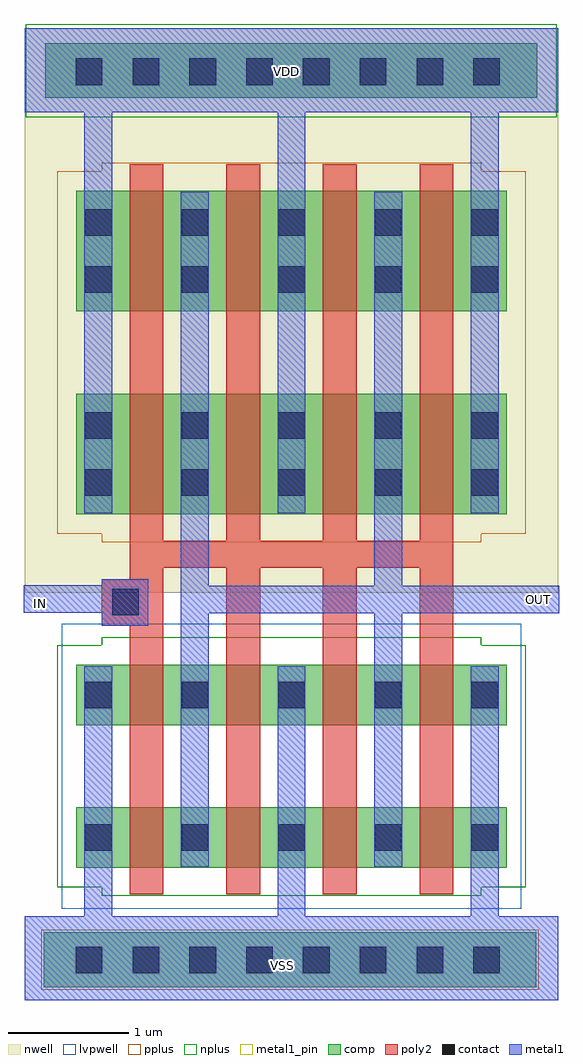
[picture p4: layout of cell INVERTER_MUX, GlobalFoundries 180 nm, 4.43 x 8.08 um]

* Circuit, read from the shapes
.subckt INVERTER_MUX IN OUT VDD VSS
XM1 OUT IN VSS VSS nfet_03v3 w=0.5u l=0.28u m=8
XM2 OUT IN VDD VDD pfet_03v3 w=1u l=0.28u m=8
.ends

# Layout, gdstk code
import gdstk
lib = gdstk.Library(unit=1e-6, precision=1e-09)
def R(c, l, rs):  # rectangles x0, y0, x1, y1
    for r in rs: c.add(gdstk.rectangle(r[:2], r[2:], *l))
def A(c, l, x, y, w, h, nx, ny, dx, dy):  # array of equal rectangles
    R(c, l, [(x+i*dx, y+j*dy, x+i*dx+w, y+j*dy+h) for i in range(nx) for j in range(ny)])
nwell = (21, 0)
comp = (22, 0)
poly2 = (30, 0)
pplus = (31, 0)
nplus = (32, 0)
contact = (33, 0)
metal1 = (34, 0)
metal1_pin = (34, 10)
lvpwell = (204, 0)

pmos_3p3_mwbyar = lib.new_cell('pmos_3p3_MWBYAR')
R(pmos_3p3_mwbyar, nwell, [(-2.21,-1.99,2.21,1.99)])
R(pmos_3p3_mwbyar, comp, [(-1.78,-1.34,1.78,-0.34), (-1.78,0.34,1.78,1.34)])
A(pmos_3p3_mwbyar, poly2, -1.34, -1.56, 0.28, 1.44, 4, 2, 0.8, 1.68)
R(pmos_3p3_mwbyar, pplus, [(-1.57,-1.57,1.57,-1.5), (-1.94,-1.5,1.94,1.5), (-1.57,1.5,1.57,1.57)])
A(pmos_3p3_mwbyar, contact, -1.71, -1.185, 0.22, 0.22, 5, 2, 0.8, 0.47)
A(pmos_3p3_mwbyar, contact, -1.71, 0.495, 0.22, 0.22, 5, 2, 0.8, 0.47)
A(pmos_3p3_mwbyar, metal1, -1.715, -1.33, 0.23, 0.98, 5, 2, 0.8, 1.68)

nmos_3p3_megst2 = lib.new_cell('nmos_3p3_MEGST2')
R(nmos_3p3_megst2, comp, [(-1.78,-0.84,1.78,-0.34), (-1.78,0.34,1.78,0.84)])
A(nmos_3p3_megst2, poly2, -1.34, -1.06, 0.28, 0.94, 4, 2, 0.8, 1.18)
R(nmos_3p3_megst2, nplus, [(-1.57,-1.07,1.57,-1), (-1.94,-1,1.94,1), (-1.57,1,1.57,1.07)])
A(nmos_3p3_megst2, contact, -1.71, -0.7, 0.22, 0.22, 5, 2, 0.8, 1.18)
A(nmos_3p3_megst2, metal1, -1.715, -0.83, 0.23, 0.48, 5, 2, 0.8, 1.18)
R(nmos_3p3_megst2, lvpwell, [(-1.9,-1.18,1.9,1.18)])

inverter_mux = lib.new_cell('INVERTER_MUX')
R(inverter_mux, nwell, [(0,3.98,4.42,4.675)])
R(inverter_mux, comp, [(0.16,-3.265,4.235,-2.81), (0.17,4.1,4.245,4.55)])
A(inverter_mux, poly2, 0.87, 1.865, 0.28, 0.255, 3, 1, 0.8, 0)
R(inverter_mux, poly2, [(0.87,-1.56,1.15,-1.315), (1.67,-1.56,1.95,-1.315), (2.47,-1.56,2.75,-1.31), (3.27,-1.56,3.55,-1.31), (1.67,-0.39,1.95,0.21), (2.47,-0.38,2.75,0.21), (3.27,-0.38,3.55,0.21), (0.87,-0.375,1.15,-0.27), (0.64,-0.27,1.15,0.115), (0.87,0.115,1.15,0.21), (0.87,0.21,3.55,0.43), (0.87,0.43,1.15,0.455), (1.67,0.43,1.95,0.44), (2.47,0.43,2.75,0.45), (3.27,0.43,3.55,0.45), (3.27,1.86,3.55,2.115)])
R(inverter_mux, pplus, [(0.14,-3.285,4.255,-2.79)])
R(inverter_mux, nplus, [(0.01,3.94,4.405,4.71)])
A(inverter_mux, contact, 0.425, -3.15, 0.22, 0.22, 8, 2, 0.47, 7.355)
R(inverter_mux, contact, [(0.725,-0.185,0.945,0.035)])
A(inverter_mux, metal1, 0.495, -2.675, 0.23, 0.465, 3, 1, 1.6, 0)
A(inverter_mux, metal1, 0.495, -1.84, 0.23, 0.81, 5, 2, 0.8, 3.425)
A(inverter_mux, metal1, 0.495, 3.265, 0.23, 0.715, 3, 1, 1.6, 0)
R(inverter_mux, metal1, [(0,-3.37,4.42,-2.675), (1.295,-0.66,1.525,-0.17), (2.895,-0.66,3.125,-0.17), (0.64,-0.27,1.025,-0.165), (1.295,-0.17,4.425,0.06), (-0.005,-0.165,1.025,0.065), (1.295,0.06,1.525,0.715), (2.895,0.06,3.125,0.715), (0.64,0.065,1.025,0.115), (0,3.98,4.42,4.675)])
R(inverter_mux, metal1_pin, [(2.125,-3.09,2.14,-3.075)])
inverter_mux.add(gdstk.Reference(pmos_3p3_mwbyar, (2.21,1.99)))
inverter_mux.add(gdstk.Reference(nmos_3p3_megst2, (2.21,-1.435)))
inverter_mux.add(gdstk.Label('VDD', (2.17,4.315), layer=22, texttype=0))
inverter_mux.add(gdstk.Label('VSS', (2.132,-3.082), layer=22, texttype=0))
inverter_mux.add(gdstk.Label('IN', (0.135,-0.085), layer=34, texttype=10))
inverter_mux.add(gdstk.Label('OUT', (4.255,-0.055), layer=34, texttype=10))

lib.write_gds('INVERTER_MUX.gds')
